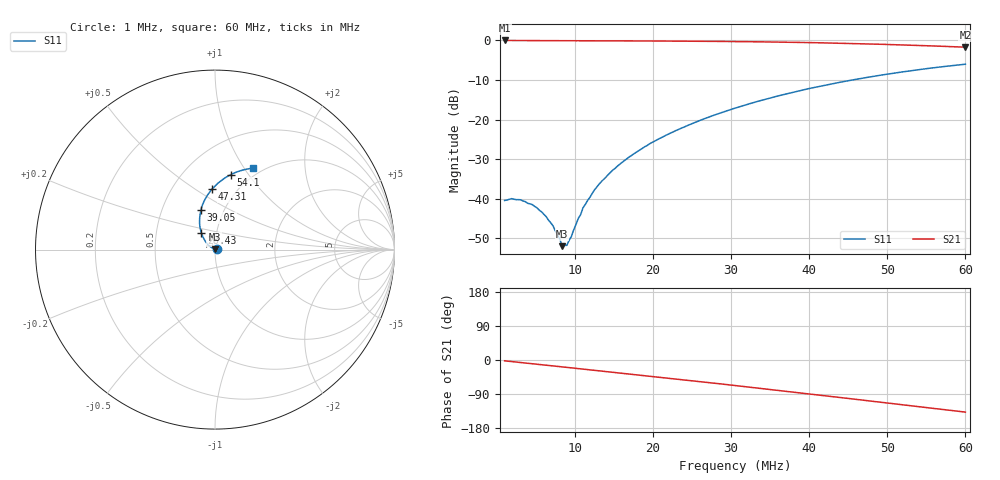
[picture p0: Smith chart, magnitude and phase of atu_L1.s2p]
! S11/S21 from S-A-A-2 VNA
! Written 2026-11-14 07:40:12 by the saav2 MCP server
! S12 and S22 were not measured (1.5-port VNA) and are written as 0
# HZ S RI R 50
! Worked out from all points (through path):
!   201 points, 1 MHz to 60 MHz, reference 50 ohm
!   highest |S21| = -0.02 dB at 1 MHz (marker M1); lowest = -1.7 dB at 60 MHz (marker M2)
!   group delay of S21, straight-line fit = 6.38 ns
!   lowest |S11| = -52.0 dB at 8.375 MHz (marker M3), VSWR 1.01, Z = 50.1 + j0.211 ohm
!   |S11| at or under -10 dB: start of sweep to 45.53 MHz
!   S12 and S22 are empty: the file has one direction only
!   S11 on the Smith chart (normalised r, x): 1 MHz: 1.02, +0.00; 28.43 MHz: 0.85, +0.16; 39.05 MHz: 0.78, +0.37; 47.31 MHz: 0.77, +0.59; 54.1 MHz: 0.81, +0.83; 60 MHz: 0.90, +1.09
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1000000  0.00945 0.000892  0.9975 -0.0373  0 0  0 0
1885000  0.00997 0.000985  0.9935 -0.0723  0 0  0 0
3065000  0.00962 0.00114  0.9878 -0.1159  0 0  0 0
5130000  0.00757 0.0013  0.9745 -0.1923  0 0  0 0
7195000  0.00422 0.0017  0.9557 -0.2673  0 0  0 0
8080000  0.00226 0.00208  0.9456 -0.2988  0 0  0 0
8375000  0.00138 0.0021  0.9424 -0.3092  0 0  0 0
8965000  0.000119 0.00257  0.9351 -0.3302  0 0  0 0
9555000  -0.00147 0.003  0.9269 -0.351  0 0  0 0
1.103e7  -0.00602 0.00471  0.9047 -0.4017  0 0  0 0
1.2505e7  -0.0107 0.00719  0.8799 -0.4512  0 0  0 0
1.4865e7  -0.0197 0.0119  0.8348 -0.5276  0 0  0 0
1.693e7  -0.0283 0.0181  0.789 -0.5903  0 0  0 0
2.0765e7  -0.0455 0.0347  0.691 -0.6976  0 0  0 0
2.8435e7  -0.0756 0.0918  0.4476 -0.8613  0 0  0 0
3.05e7  -0.0813 0.1128  0.3737 -0.8918  0 0  0 0
3.9055e7  -0.0782 0.2215  0.0446 -0.9411  0 0  0 0
4.053e7  -0.0721 0.2427  -0.0128 -0.9367  0 0  0 0
4.7315e7  -0.0147 0.3391  -0.2644 -0.8644  0 0  0 0
5.0265e7  0.025 0.3771  -0.3624 -0.8095  0 0  0 0
5.41e7  0.0892 0.4184  -0.4743 -0.7202  0 0  0 0
6e7  0.21 0.454  -0.6051 -0.5545  0 0  0 0
